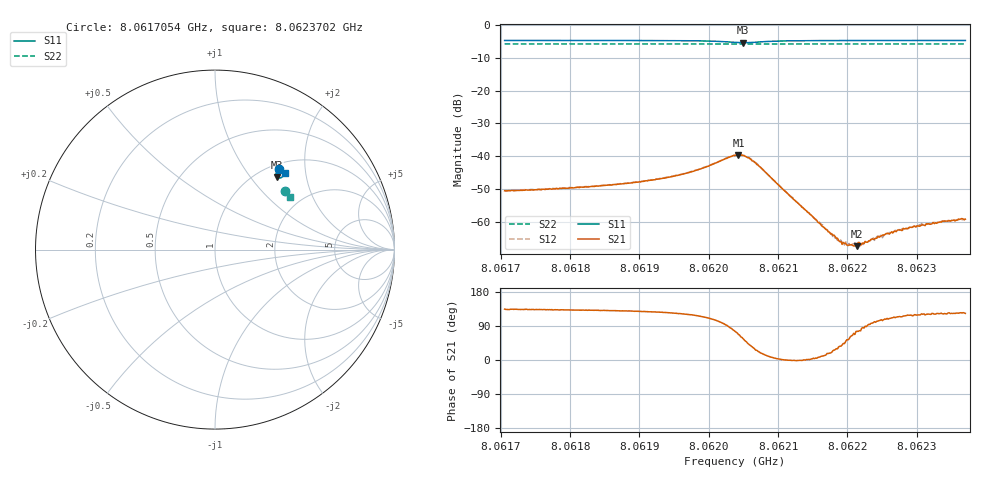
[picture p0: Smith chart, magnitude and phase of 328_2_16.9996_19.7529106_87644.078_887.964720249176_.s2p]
#  HZ  S  RI  R  50.00
! Rohde & Schwarz Vector Network Analyzer
! Rohde-Schwarz,ZNB20-2Port,1311601062101988,3.16
! Created: UTC 3/20/2024, 11:06:48 PM
! freq[Hz]  re:S11  im:S11  re:S21  im:S21  re:S12  im:S12  re:S22  im:S22
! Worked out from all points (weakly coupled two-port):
!   401 points, 8.0617054 GHz to 8.0623702 GHz, reference 50 ohm
!   highest |S21| = -39.57 dB at 8.0620428 GHz (marker M1); lowest = -67.3 dB at 8.062214 GHz (marker M2)
!   lowest |S11| = -5.5 dB at 8.0620494 GHz (marker M3), VSWR 3.27, Z = 61 + j68.4 ohm
!   |S11| at or under -10 dB: nowhere
!   |S22| runs from -5.9 to -5.8 dB; largest |S21 - S12| = 0.00087
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8.06170542e9  0.3588 0.4505  -0.0021 0.00215  -0.00196 0.00229  0.3917 0.3278
8.06181677e9  0.3665 0.444  -0.00226 0.00256  -0.00216 0.00271  0.3959 0.3224
8.06187826e9  0.371 0.4396  -0.00246 0.00299  -0.00227 0.00314  0.3985 0.3191
8.06192812e9  0.3752 0.4344  -0.00268 0.00364  -0.00246 0.00386  0.4003 0.3166
8.06197631e9  0.3792 0.4256  -0.00284 0.00513  -0.00252 0.00538  0.4018 0.3139
8.06203781e9  0.3613 0.3986  0.0025 0.01  0.00318 0.00987  0.4028 0.3101
8.06204279e9  0.355 0.3991  0.00402 0.0097  0.00459 0.00939  0.4027 0.31
8.06204944e9  0.3471 0.4027  0.00573 0.00859  0.00629 0.00824  0.4028 0.3099
8.06205941e9  0.3399 0.4138  0.00709 0.00585  0.00763 0.0054  0.4029 0.31
8.06207104e9  0.3408 0.4264  0.0068 0.00285  0.00702 0.00255  0.4036 0.3101
8.06214916e9  0.3682 0.4384  0.00123 6.46e-05  0.00123 -1.53e-05  0.4076 0.3066
8.0621824e9  0.3732 0.4363  0.000535 0.000277  0.000521 0.00023  0.4091 0.3048
8.06219071e9  0.3742 0.4358  0.000409 0.000304  0.000445 0.000293  0.4091 0.3044
8.062204e9  0.3757 0.4349  0.00022 0.000394  0.000239 0.000368  0.4097 0.3038
8.06221397e9  0.3767 0.4344  0.000107 0.00042  0.00015 0.000442  0.4102 0.3031
8.06222561e9  0.3778 0.4336  7.35e-06 0.000508  4.74e-05 0.000511  0.4106 0.3026
8.06224555e9  0.3797 0.4324  -0.000141 0.000575  -0.00011 0.000607  0.4112 0.3016
8.06225054e9  0.38 0.432  -0.000155 0.000618  -0.000119 0.00057  0.4114 0.3012
8.06226051e9  0.381 0.4314  -0.000222 0.000622  -0.000201 0.000668  0.4119 0.3007
8.06230704e9  0.3844 0.4289  -0.000479 0.000768  -0.00046 0.000835  0.4136 0.2983
8.06234028e9  0.3869 0.427  -0.000565 0.000881  -0.000495 0.000904  0.4147 0.2967
8.0623702e9  0.3888 0.4252  -0.000606 0.000929  -0.000561 0.000977  0.4158 0.2953
